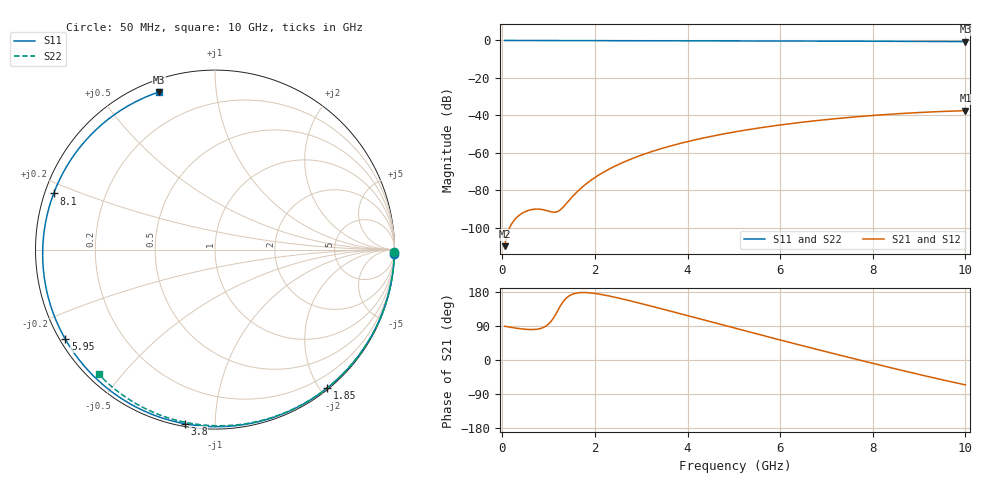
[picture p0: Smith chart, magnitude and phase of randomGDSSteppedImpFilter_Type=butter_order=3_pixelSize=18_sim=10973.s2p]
! freq	dB(S11)	phase(S11)	dB(S12)	phase(S12)
!  dB(S21)	phase(S21)	dB(S22)	phase(S22)
!S-par simulation data
#  GHz  S  DB  R 50
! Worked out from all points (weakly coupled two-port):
!   200 points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, 50 MHz to 10 GHz, reference 50 ohm
!   highest |S21| = -37.46 dB at 10 GHz (marker M1); lowest = -109.8 dB at 50 MHz (marker M2)
!   lowest |S11| = -0.6 dB at 10 GHz (marker M3), VSWR 28.42, Z = 2.64 + j35.3 ohm
!   |S11| at or under -10 dB: nowhere
!   |S22| runs from -0.4 to 0.0 dB; largest |S21 - S12| = 0
!   S11 on the Smith chart (normalised r, x): 50 MHz: 0, -80; 1.85 GHz: 0.02, -2.10; 3.8 GHz: 0.01, -0.84; 5.95 GHz: 0.02, -0.28; 8.1 GHz: 0.03, +0.17; 10 GHz: 0.05, +0.71
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0.05  -0.00 -1.4  -109.76 89.1  -109.76 89.1  -0.00 -0.8
0.4  -0.02 -11.3  -92.64 82.3  -92.64 82.3  -0.01 -6.1
0.8  -0.03 -22.4  -90.02 82.4  -90.02 82.4  -0.02 -12.2
1.2  -0.04 -33.5  -91.25 131.0  -91.25 131.0  -0.02 -18.2
1.65  -0.06 -45.7  -79.94 177.5  -79.94 177.5  -0.03 -24.9
1.75  -0.06 -48.3  -77.74 178.1  -77.74 178.1  -0.03 -26.4
1.85  -0.06 -51.0  -75.77 177.6  -75.77 177.6  -0.04 -27.9
2.15  -0.07 -58.9  -70.81 172.6  -70.81 172.6  -0.04 -32.3
2.5  -0.09 -67.9  -66.27 163.7  -66.27 163.7  -0.05 -37.4
2.9  -0.10 -78.0  -62.13 152.0  -62.13 152.0  -0.06 -43.2
3.4  -0.12 -90.3  -57.96 136.4  -57.96 136.4  -0.07 -50.3
3.8  -0.13 -99.9  -55.20 123.5  -55.20 123.5  -0.08 -55.9
4.4  -0.16 -114.0  -51.73 104.1  -51.73 104.1  -0.09 -64.1
5.05  -0.19 -128.8  -48.66 83.1  -48.66 83.1  -0.11 -72.8
5.95  -0.25 -149.1  -45.27 54.4  -45.27 54.4  -0.15 -84.5
6.7  -0.30 -166.1  -43.00 30.9  -43.00 30.9  -0.18 -93.9
7.4  -0.36 177.7  -41.26 9.3  -41.26 9.3  -0.22 -102.4
8.1  -0.43 160.8  -39.84 -11.8  -39.84 -11.8  -0.27 -110.8
8.35  -0.45 154.6  -39.40 -19.2  -39.40 -19.2  -0.29 -113.7
9.15  -0.53 133.6  -38.27 -42.4  -38.27 -42.4  -0.36 -123.1
9.6  -0.58 121.1  -37.79 -54.9  -37.79 -54.9  -0.41 -128.3
10  -0.61 109.5  -37.46 -65.6  -37.46 -65.6  -0.45 -133.0
